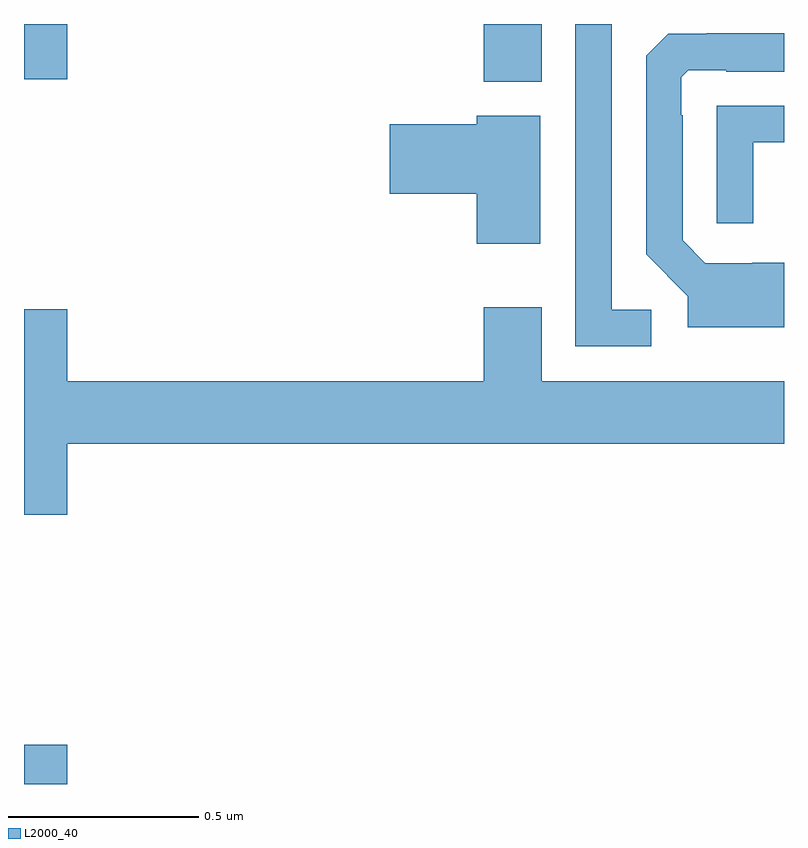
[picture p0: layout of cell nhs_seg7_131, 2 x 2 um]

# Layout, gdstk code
import gdstk
lib = gdstk.Library(unit=1e-6, precision=1e-09)
def R(c, l, rs):  # rectangles x0, y0, x1, y1
    for r in rs: c.add(gdstk.rectangle(r[:2], r[2:], *l))
def P(c, l, *ps):  # polygons
    for p in ps: c.add(gdstk.Polygon(p, *l))
L2000_40 = (2000, 40)

nhs_seg7_131 = lib.new_cell('nhs_seg7_131')
R(nhs_seg7_131, L2000_40, [(112,1053,112.114,1053.103), (113.21,1054.848,113.362,1055), (112,1054.854,112.114,1055)])
P(nhs_seg7_131, L2000_40, [(113.65,1054.248),(113.547,1054.248),(113.547,1055),(113.451,1055),(113.451,1054.152),(113.65,1054.152)],
  [(114,1054.372),(113.916,1054.372),(113.916,1054.371),(113.793,1054.371),(113.733,1054.431),(113.733,1054.76),(113.73,1054.76),(113.73,1054.86),(113.748,1054.878),(113.848,1054.878),(113.848,1054.875),(114,1054.875),(114,1054.976),(113.797,1054.976),(113.797,1054.975),(113.696,1054.975),(113.637,1054.916),(113.637,1054.394),(113.747,1054.284),(113.747,1054.202),(114,1054.202)],
  [(113.919,1054.689),(114,1054.689),(114,1054.785),(113.823,1054.785),(113.823,1054.476),(113.919,1054.476)],
  [(113.359,1054.759),(113.192,1054.759),(113.192,1054.736),(112.962,1054.736),(112.962,1054.553),(113.192,1054.553),(113.192,1054.422),(113.359,1054.422)],
  [(112.114,1053.896),(114,1053.896),(114,1054.06),(113.362,1054.06),(113.362,1054.255),(113.21,1054.255),(113.21,1054.06),(112.114,1054.06),(112.114,1054.249),(112,1054.249),(112,1053.708),(112.114,1053.708)])

lib.write_gds('nhs_seg7_131.gds')
